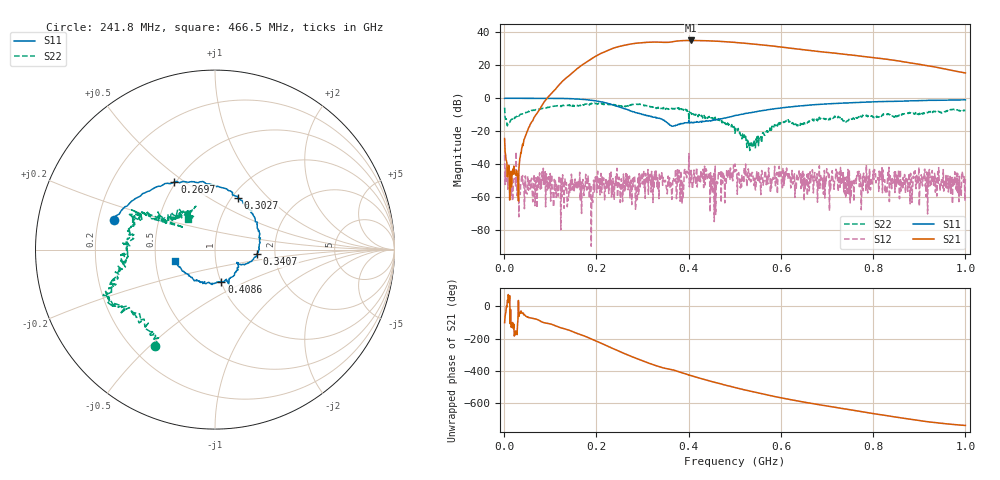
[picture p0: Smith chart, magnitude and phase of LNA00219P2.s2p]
! Created with skrf 1.9.0 (http://scikit-rf.org).
# Hz S RI R 50.0
!freq ReS11 ImS11 ReS21 ImS21 ReS12 ImS12 ReS22 ImS22
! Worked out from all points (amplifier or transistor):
!   1001 points, 1 MHz to 1 GHz, reference 50 ohm
!   highest |S21| = 35.1 dB at 404.6 MHz (marker M1)
!   |S21| within 3 dB of that: 259.9 MHz to 568.7 MHz (308.8 MHz wide, 74.5 % of centre)
!   unconditionally stable (mu >= 1): start of sweep to 84.71 MHz; 302.8 MHz to 400.1 MHz; 400.9 MHz to end of sweep (the widest 3 of 21)
!   at 166.8 MHz: K = 1.24, MAG = 32.3 dB, |S12| = -50.8 dB
!   at 500.5 MHz: K = 1.14, MAG = 34.7 dB, |S12| = -40.0 dB
!   at 1 GHz: K = 2.94, MAG = 23.8 dB, |S12| = -47.3 dB
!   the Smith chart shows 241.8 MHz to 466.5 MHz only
!   S11 on the Smith chart (normalised r, x): 241.8 MHz: 0.27, +0.13; 269.7 MHz: 0.49, +0.46; 302.7 MHz: 1.07, +0.68; 340.7 MHz: 1.61, -0.09; 408.6 MHz: 1.01, -0.37; 466.5 MHz: 0.63, -0.08
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1000000  0.9865 -0.00552  -0.0121 -0.0581  -0.018 -0.00519  0.3733 0.3617
1.08892e8  0.5043 -0.8548  -0.8277 -1.54  -0.00219 -0.00263  0.4268 -0.3807
1.67833e8  -0.2603 -0.8901  -9.964 -0.4628  7.35e-05 -0.000308  0.0288 -0.6301
2.08792e8  -0.6921 -0.3767  -15.56 16.4  -0.000197 0.00302  -0.2135 -0.6476
2.41759e8  -0.5615 0.1627  -0.7821 34.75  0.00292 -0.00285  -0.336 -0.538
2.69731e8  -0.2265 0.3767  23.41 35.99  -0.00347 0.00233  -0.4902 -0.3275
3.02698e8  0.1277 0.2865  45.81 16.79  -0.0061 -0.00159  -0.592 -0.2182
3.34666e8  0.2464 0.0153  49.58 -10.48  0.000668 0.00251  -0.4994 -0.0264
3.4066e8  0.2341 -0.0253  48.07 -14.75  -0.00352 0.0024  -0.4899 0.00751
3.75625e8  0.1293 -0.0888  40.78 -36.4  0.0026 0.00618  -0.4687 0.1917
4.04596e8  0.0548 -0.1731  21.38 -52.65  -0.000754 0.00297  -0.3185 0.1717
4.08592e8  0.0361 -0.1792  18.14 -53.82  -0.000991 0.00147  -0.3181 0.2102
4.37563e8  -0.1151 -0.1746  -5.091 -55.4  -0.00151 0.00703  -0.1536 0.1822
4.66534e8  -0.2239 -0.0622  -24.54 -47.27  0.00211 0.00497  -0.1482 0.1696
5.005e8  -0.2723 0.1241  -39.21 -30.5  0.00972 0.00237  -0.0533 0.0681
5.39461e8  -0.1963 0.3203  -43.42 -8.952  0.0042 -0.00115  -0.0368 0.0149
5.85415e8  -0.00249 0.4763  -36.37 10.91  0.00146 -0.0033  -0.1343 -0.0608
6.23377e8  0.1794 0.5207  -25.86 20.11  0.00255 -0.0041  -0.15 -0.0958
6.67333e8  0.3923 0.4892  -13.61 23.97  0.000384 -0.00439  -0.21 -0.0278
7.55245e8  0.6816 0.2726  3.935 19.9  0.000112 -0.00225  -0.2347 0.0207
8.34166e8  0.7967 0.0132  10.96 10.14  -0.00559 0.00568  -0.3224 -0.0175
1e9  0.7204 -0.5287  5.634 -1.576  -0.0031 0.00297  -0.3579 0.2193
